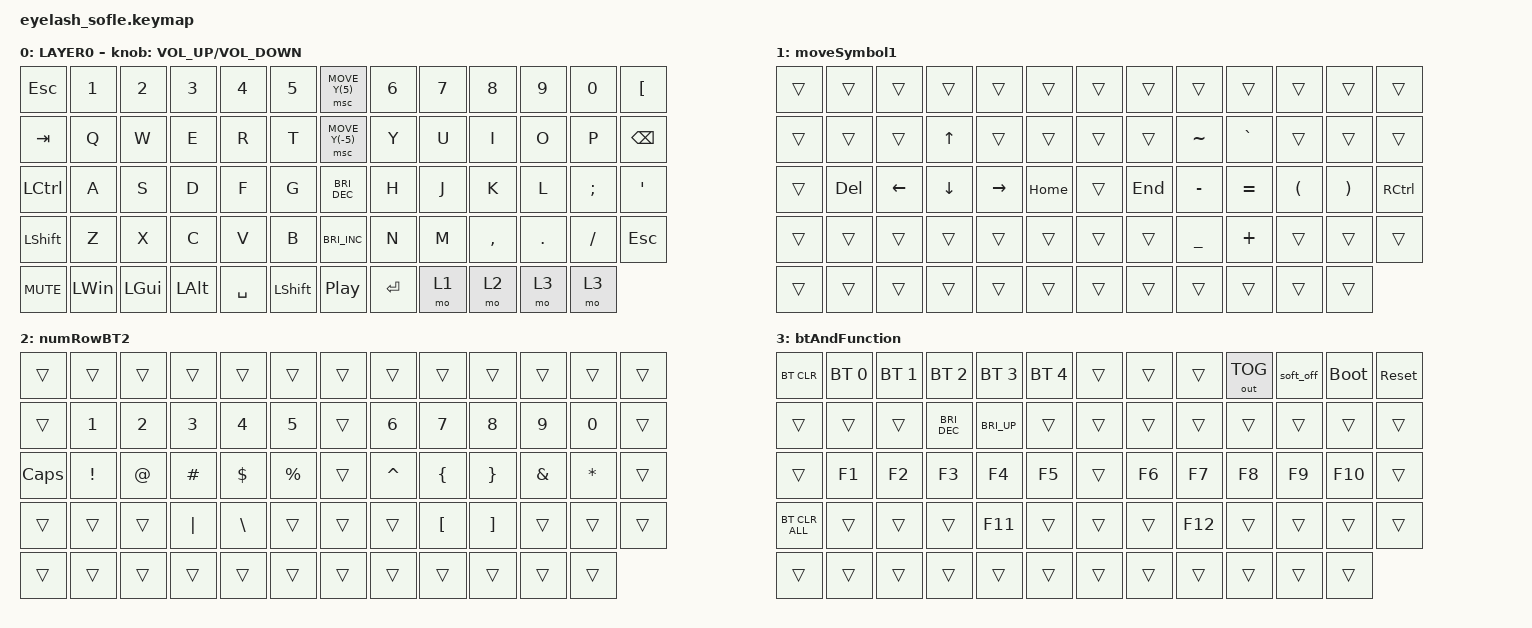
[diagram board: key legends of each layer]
#define ZMK_POINTING_DEFAULT_MOVE_VAL 1200  // 600
#define ZMK_POINTING_DEFAULT_SCRL_VAL 25   // 10

#include <input/processors.dtsi>
#include <zephyr/dt-bindings/input/input-event-codes.h>
#include <behaviors.dtsi>
#include <dt-bindings/zmk/bt.h>
#include <dt-bindings/zmk/keys.h>
#include <dt-bindings/zmk/outputs.h>
#include <dt-bindings/zmk/pointing.h>

&mmv_input_listener { input-processors = <&zip_xy_scaler 2 1>; };

&msc_input_listener { input-processors = <&zip_scroll_scaler 2 1>; };

&msc {
    acceleration-exponent = <1>;      // 0
    time-to-max-speed-ms = <100>;       // 300
    delay-ms = <0>;                   // 0
};

&mmv {
    time-to-max-speed-ms = <500>;
    acceleration-exponent = <1>;
    trigger-period-ms = <16>;
};

/ {
    scroll_encoder: scroll_encoder {
        compatible = "zmk,behavior-sensor-rotate";
        #sensor-binding-cells = <0>;
        bindings = <&msc SCRL_DOWN>, <&msc SCRL_UP>;

        tap-ms = <100>;
    };

    hrmL: hrmL {
        compatible = "zmk,behavior-hold-tap";
        label = "HRML";
        bindings = <&kp>, <&kp>;

        #binding-cells = <2>;
        flavor = "tap-preferred";
        tapping-term-ms = <280>;
        quick-tap-ms = <75>;
        hold-trigger-key-positions = <30 29 27 28>;
        hold-trigger-on-release;
        require-prior-idle-ms = <150>;
    };

    hrmR: hrmR {
        compatible = "zmk,behavior-hold-tap";
        label = "HRMR";
        bindings = <&kp>, <&kp>;

        #binding-cells = <2>;
        flavor = "tap-preferred";
        tapping-term-ms = <280>;
        quick-tap-ms = <75>;
        hold-trigger-key-positions = <34 35 36 37>;
        hold-trigger-on-release;
        require-prior-idle-ms = <150>;
    };

    behaviors {
    };

    keymap {
        compatible = "zmk,keymap";

        main0 {
            bindings = <
&kp ESC     &kp N1        &kp N2        &kp N3        &kp N4     &kp N5            &msc MOVE_Y(5)        &kp N6     &kp N7  &kp N8     &kp N9   &kp N0         &kp LEFT_BRACKET
&kp TAB     &kp Q         &kp W         &kp E         &kp R      &kp T             &msc MOVE_Y(-5)       &kp Y      &kp U   &kp I      &kp O    &kp P          &kp BACKSPACE
&kp LCTRL   &kp A         &kp S         &kp D         &kp F      &kp G             &kp C_BRIGHTNESS_DEC  &kp H      &kp J   &kp K      &kp L    &kp SEMICOLON  &kp APOS
&kp LSHFT   &kp Z         &kp X         &kp C         &kp V      &kp B             &kp C_BRIGHTNESS_INC  &kp N      &kp M   &kp COMMA  &kp DOT  &kp FSLH       &kp ESCAPE
&kp K_MUTE  &kp LEFT_WIN  &kp LEFT_GUI  &kp LEFT_ALT  &kp SPACE  &kp LEFT_SHIFT    &kp C_PLAY_PAUSE      &kp ENTER  &mo 1   &mo 2      &mo 3    &mo 3
            >;

            sensor-bindings = <&inc_dec_kp C_VOLUME_UP C_VOLUME_DOWN>;
            display-name = "LAYER0";
        };

        moveSymbol1 {
            bindings = <
&trans  &trans      &trans    &trans        &trans     &trans      &trans  &trans   &trans     &trans     &trans                &trans                 &trans
&trans  &trans      &trans    &kp UP_ARROW  &trans     &trans      &trans  &trans   &kp TILDE  &kp GRAVE  &trans                &trans                 &trans
&trans  &kp DELETE  &kp LEFT  &kp DOWN      &kp RIGHT  &kp HOME    &trans  &kp END  &kp MINUS  &kp EQUAL  &kp LEFT_PARENTHESIS  &kp RIGHT_PARENTHESIS  &kp RCTRL
&trans  &trans      &trans    &trans        &trans     &trans      &trans  &trans   &kp UNDER  &kp PLUS   &trans                &trans                 &trans
&trans  &trans      &trans    &trans        &trans     &trans      &trans  &trans   &trans     &trans     &trans                &trans
            >;
        };

        numRowBT2 {
            bindings = <
&trans    &trans           &trans       &trans    &trans         &trans         &trans  &trans     &trans          &trans    &trans         &trans        &trans
&trans    &kp N1           &kp N2       &kp N3    &kp N4         &kp N5         &trans  &kp N6     &kp N7          &kp N8    &kp N9         &kp N0        &trans
&kp CAPS  &kp EXCLAMATION  &kp AT_SIGN  &kp HASH  &kp DOLLAR     &kp PERCENT    &trans  &kp CARET  &kp LEFT_BRACE  &kp RBRC  &kp AMPERSAND  &kp ASTERISK  &trans
&trans    &trans           &trans       &kp PIPE  &kp BACKSLASH  &trans         &trans  &trans     &kp LBKT        &kp RBKT  &trans         &trans        &trans
&trans    &trans           &trans       &trans    &trans         &trans         &trans  &trans     &trans          &trans    &trans         &trans
            >;
        };

        btAndFunction {
            bindings = <
&bt BT_CLR      &bt BT_SEL 0  &bt BT_SEL 1  &bt BT_SEL 2          &bt BT_SEL 3  &bt BT_SEL 4    &trans  &trans  &trans   &out OUT_TOG  &soft_off  &bootloader  &sys_reset
&trans          &trans        &trans        &kp C_BRIGHTNESS_DEC  &kp C_BRI_UP  &trans          &trans  &trans  &trans   &trans        &trans     &trans       &trans
&trans          &kp F1        &kp F2        &kp F3                &kp F4        &kp F5          &trans  &kp F6  &kp F7   &kp F8        &kp F9     &kp F10      &trans
&bt BT_CLR_ALL  &trans        &trans        &trans                &kp F11       &trans          &trans  &trans  &kp F12  &trans        &trans     &trans       &trans
&trans          &trans        &trans        &trans                &trans        &trans          &trans  &trans  &trans   &trans        &trans     &trans
            >;
        };
    };
};
